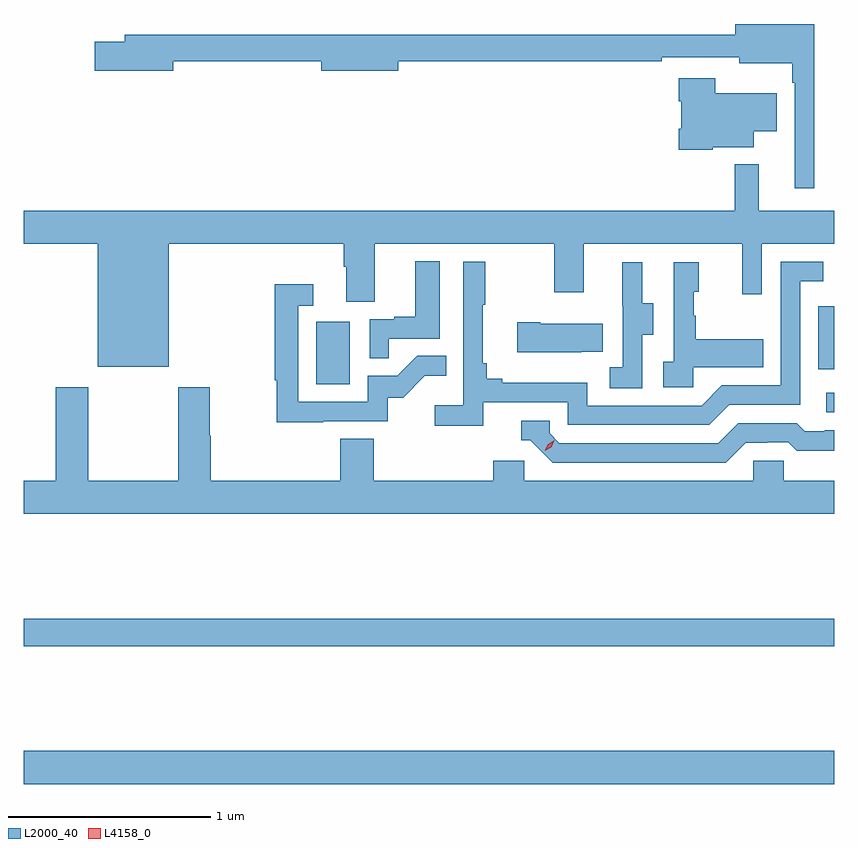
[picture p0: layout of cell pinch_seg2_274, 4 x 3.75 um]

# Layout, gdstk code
import gdstk
lib = gdstk.Library(unit=1e-6, precision=1e-09)
def R(c, l, rs):  # rectangles x0, y0, x1, y1
    for r in rs: c.add(gdstk.rectangle(r[:2], r[2:], *l))
def P(c, l, *ps):  # polygons
    for p in ps: c.add(gdstk.Polygon(p, *l))
L2000_40 = (2000, 40)
L4158_0 = (4158, 0)

pinch_seg2_274 = lib.new_cell('pinch_seg2_274')
R(pinch_seg2_274, L2000_40, [(922.005,638.312,926.005,638.476), (922.005,638.992,926.005,639.128), (925.965,640.146,926.005,640.242), (923.45,640.284,923.614,640.591), (925.926,640.359,926.005,640.668)])
P(pinch_seg2_274, L2000_40, [(925.906,642.061),(925.516,642.061),(925.516,642.007),(922.505,642.007),(922.505,641.973),(922.356,641.973),(922.356,641.831),(922.744,641.831),(922.744,641.878),(923.474,641.878),(923.474,641.831),(923.854,641.831),(923.854,641.878),(925.154,641.878),(925.154,641.898),(925.535,641.898),(925.535,641.867),(925.797,641.867),(925.797,641.771),(925.809,641.771),(925.809,641.25),(925.906,641.25)],
  [(925.404,641.453),(925.606,641.453),(925.606,641.531),(925.72,641.531),(925.72,641.719),(925.416,641.719),(925.416,641.794),(925.238,641.794),(925.238,641.681),(925.25,641.681),(925.25,641.545),(925.238,641.545),(925.238,641.441),(925.404,641.441)],
  [(922.72,640.976),(923.585,640.976),(923.585,640.864),(923.597,640.864),(923.597,640.69),(923.737,640.69),(923.737,640.976),(924.622,640.976),(924.622,640.737),(924.769,640.737),(924.769,640.976),(925.55,640.976),(925.55,640.728),(925.647,640.728),(925.647,640.976),(926.005,640.976),(926.005,641.14),(925.631,641.14),(925.631,641.368),(925.513,641.368),(925.513,641.14),(922.005,641.14),(922.005,640.976),(922.37,640.976),(922.37,640.37),(922.72,640.37)],
  [(923.807,640.509),(924.058,640.509),(924.058,640.891),(923.936,640.891),(923.936,640.618),(923.833,640.618),(923.833,640.605),(923.712,640.605),(923.712,640.411),(923.807,640.411)],
  [(924.272,640.194),(924.69,640.194),(924.69,640.083),(925.387,640.083),(925.486,640.182),(925.836,640.182),(925.836,640.791),(925.949,640.791),(925.949,640.887),(925.74,640.887),(925.74,640.278),(925.449,640.278),(925.35,640.179),(924.786,640.179),(924.786,640.291),(924.367,640.291),(924.367,640.31),(924.29,640.31),(924.29,640.387),(924.271,640.387),(924.271,640.675),(924.283,640.675),(924.283,640.888),(924.174,640.888),(924.174,640.18),(924.033,640.18),(924.033,640.078),(924.272,640.078)],
  [(925.056,640.528),(925.111,640.528),(925.111,640.683),(925.057,640.683),(925.057,640.885),(924.959,640.885),(924.959,640.671),(924.96,640.671),(924.96,640.367),(924.897,640.367),(924.897,640.264),(925.056,640.264)],
  [(925.308,640.367),(925.655,640.367),(925.655,640.507),(925.321,640.507),(925.321,640.622),(925.311,640.622),(925.311,640.74),(925.336,640.74),(925.336,640.885),(925.212,640.885),(925.212,640.394),(925.161,640.394),(925.161,640.269),(925.308,640.269)],
  [(923.483,640.101),(923.802,640.101),(923.802,640.218),(923.878,640.218),(923.985,640.325),(924.089,640.325),(924.089,640.424),(923.946,640.424),(923.848,640.326),(923.703,640.326),(923.703,640.197),(923.361,640.197),(923.361,640.671),(923.434,640.671),(923.434,640.777),(923.245,640.777),(923.245,640.304),(923.253,640.304),(923.253,640.096),(923.483,640.096)],
  [(924.755,640.445),(924.863,640.445),(924.863,640.582),(924.553,640.582),(924.553,640.59),(924.441,640.59),(924.441,640.442),(924.755,640.442)],
  [(926.005,639.808),(925.755,639.808),(925.755,639.906),(925.605,639.906),(925.605,639.808),(924.474,639.808),(924.474,639.906),(924.323,639.906),(924.323,639.808),(923.732,639.808),(923.732,640.016),(923.567,640.016),(923.567,639.808),(922.928,639.808),(922.928,640.031),(922.923,640.031),(922.923,640.27),(922.768,640.27),(922.768,639.808),(922.323,639.808),(922.323,640.27),(922.163,640.27),(922.163,639.808),(922.005,639.808),(922.005,639.644),(926.005,639.644)],
  [(925.567,639.996),(925.674,639.996),(925.674,639.999),(925.777,639.999),(925.819,639.957),(926.005,639.957),(926.005,640.056),(925.957,640.056),(925.957,640.053),(925.858,640.053),(925.819,640.092),(925.53,640.092),(925.431,639.993),(924.648,639.993),(924.6,640.041),(924.6,640.104),(924.461,640.104),(924.461,640.008),(924.504,640.008),(924.615,639.897),(925.468,639.897)])
P(pinch_seg2_274, L4158_0, [(924.577,639.955),(924.577,639.955),(924.593,639.988),(924.624,640.007),(924.624,640.007),(924.624,640.007),(924.608,639.974),(924.577,639.955)])

lib.write_gds('pinch_seg2_274.gds')
